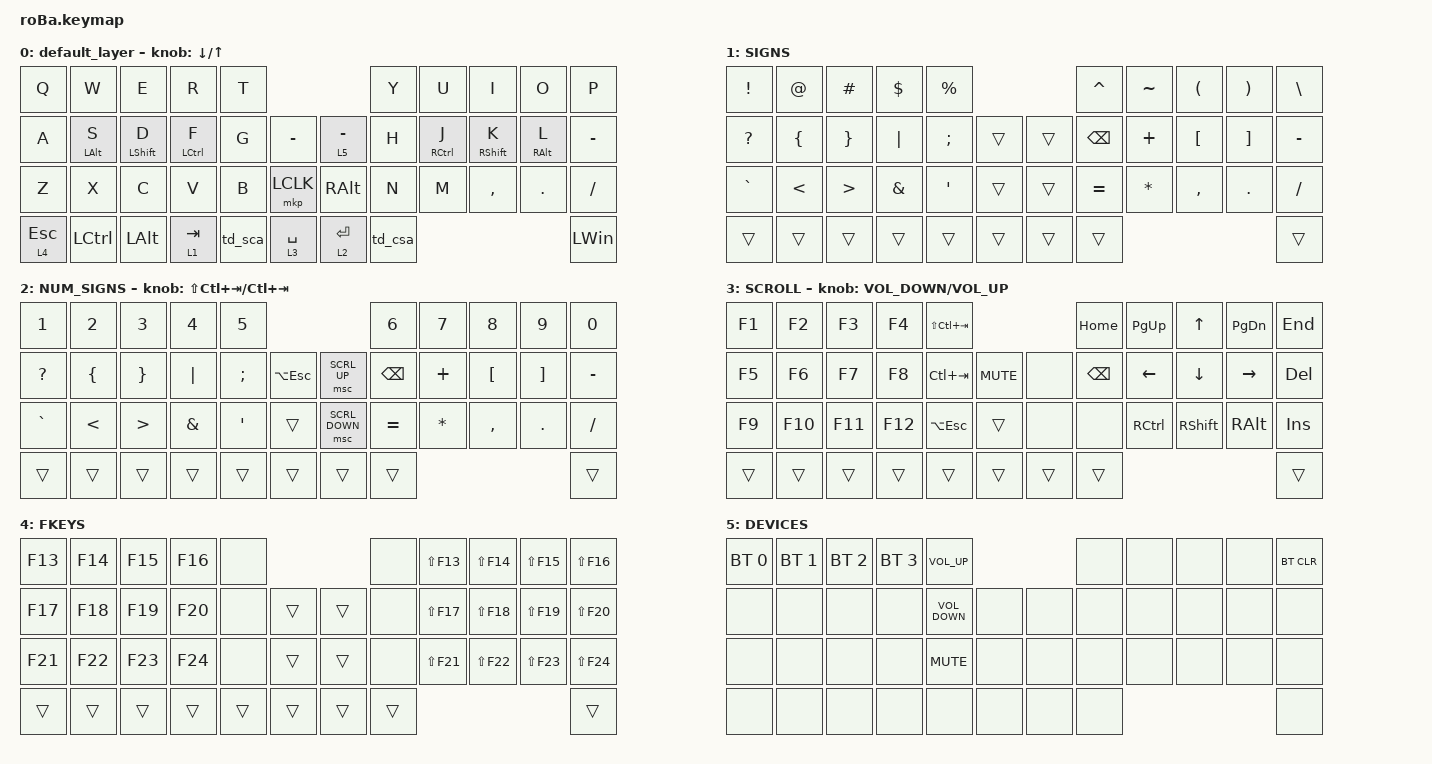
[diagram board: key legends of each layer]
#include <behaviors.dtsi>
#include <dt-bindings/zmk/bt.h>
#include <dt-bindings/zmk/keys.h>
#include <dt-bindings/zmk/pointing.h>

#define MOUSE 4
#define SCROLL 5
#define NUM 6

&mt {
    flavor = "tap-preferred";
    quick-tap-ms = <150>;
    tapping-term-ms = <450>;
    retro-tap;
    require-prior-idle-ms = <150>;
};

/ {
    combos {
        compatible = "zmk,combos";

        colons {
            bindings = <&kp SEMI>;
            key-positions = <20 21>;
            layers = <0>;
            timeout-ms = <150>;
        };

        quotes {
            bindings = <&kp SINGLE_QUOTE>;
            key-positions = <33 32>;
            layers = <0>;
            timeout-ms = <150>;
        };

        lang1 {
            bindings = <&tap_tap LS(LA(LC(INS))) LANG1>;
            key-positions = <38 41>;
        };

        rclk {
            bindings = <&mkp RCLK>;
            key-positions = <19 20>;
            layers = <0>;
        };

        mclk {
            bindings = <&mkp MB3>;
            key-positions = <18 19>;
            layers = <0>;
        };

        colon {
            bindings = <&kp COLON>;
            key-positions = <20 21>;
            layers = <1 2>;
            timeout-ms = <150>;
        };

        doublequote {
            bindings = <&kp DOUBLE_QUOTES>;
            key-positions = <33 32>;
            layers = <1 2>;
            timeout-ms = <150>;
        };

        mb4b {
            bindings = <&mkp MB4>;
            key-positions = <18 19>;
            layers = <3>;
        };

        mb5b {
            bindings = <&mkp MB5>;
            key-positions = <19 20>;
            layers = <3>;
        };

        mo4 {
            bindings = <&mo 4>;
            key-positions = <39 40>;
        };
    };

    macros {
        to_layer_0: to_layer_0 {
            compatible = "zmk,behavior-macro-one-param";
            #binding-cells = <1>;
            bindings = <&to 0 &macro_param_1to1 &kp MACRO_PLACEHOLDER>;
            label = "TO_LAYER_0";
        };

        tap_once: tap_once {
            compatible = "zmk,behavior-macro-one-param";
            #binding-cells = <1>;
            bindings =
                <&macro_press>,
                <&macro_param_1to1 &kp MACRO_PLACEHOLDER>,
                <&macro_release>,
                <&macro_param_1to1 &kp MACRO_PLACEHOLDER>;

            label = "TAP_ONCE";
        };
    };

    behaviors {
        lt_to_layer_0: lt_to_layer_0 {
            compatible = "zmk,behavior-hold-tap";
            label = "LAYER_TAP_TO_0";
            bindings = <&mo>, <&to_layer_0>;

            #binding-cells = <2>;
            tapping-term-ms = <200>;
        };

        td_sca: tap_dance_sca {
            compatible = "zmk,behavior-tap-dance";
            label = "Tap dance behavior (SHIFT, CTRL, ALT)";
            #binding-cells = <0>;
            bindings = <&kp LEFT_SHIFT>, <&kp LCTRL>, <&kp LEFT_ALT>;

            tapping-term-ms = <300>;
        };

        td_csa: tap_dance_csa {
            compatible = "zmk,behavior-tap-dance";
            label = "Tap dance behavior (CTRL, SHIFT, ALT)";
            #binding-cells = <0>;
            bindings = <&kp RCTRL>, <&kp RIGHT_SHIFT>, <&kp RIGHT_ALT>;

            tapping-term-ms = <300>;
        };

        td_ptr: tap_dance_ptr {
            compatible = "zmk,behavior-tap-dance";
            label = "Tap dance behavior (Lang, Ptr)";
            #binding-cells = <0>;
            bindings = <&kp LANGUAGE_1>, <&kp LS(LC(LA(INSERT)))>;

            tapping-term-ms = <300>;
        };

        tap_tap: tap_tap {
            compatible = "zmk,behavior-hold-tap";
            label = "TAP_TAP";
            bindings = <&tap_once>, <&tap_once>;

            #binding-cells = <2>;
            tapping-term-ms = <500>;
        };
    };

    keymap {
        compatible = "zmk,keymap";

        default_layer {
            bindings = <
&kp Q         &kp W           &kp E             &kp R        &kp T                                  &kp Y    &kp U        &kp I              &kp O            &kp P
&kp A         &mt LEFT_ALT S  &mt LEFT_SHIFT D  &mt LCTRL F  &kp G    &kp MINUS      &lt 5 MINUS    &kp H    &mt RCTRL J  &mt RIGHT_SHIFT K  &mt RIGHT_ALT L  &kp MINUS
&kp Z         &kp X           &kp C             &kp V        &kp B    &mkp LCLK      &kp RIGHT_ALT  &kp N    &kp M        &kp COMMA          &kp PERIOD       &kp SLASH
&lt 4 ESCAPE  &kp LCTRL       &kp LEFT_ALT      &lt 1 TAB    &td_sca  &lt 3 SPACE    &lt 2 ENTER    &td_csa                                                   &kp LWIN
            >;

            sensor-bindings = <&inc_dec_kp DOWN_ARROW UP_ARROW>;
        };

        SIGNS {
            bindings = <
&kp EXCL      &kp AT          &kp HASH          &kp DOLLAR  &kp PERCENT                         &kp CARET      &kp TILDE  &kp LEFT_PARENTHESIS  &kp RIGHT_PARENTHESIS  &kp BACKSLASH
&kp QUESTION  &kp LEFT_BRACE  &kp RIGHT_BRACE   &kp PIPE    &kp SEMI          &trans    &trans  &kp BACKSPACE  &kp PLUS   &kp LEFT_BRACKET      &kp RIGHT_BRACKET      &kp MINUS
&kp GRAVE     &kp LESS_THAN   &kp GREATER_THAN  &kp AMPS    &kp SINGLE_QUOTE  &trans    &trans  &kp EQUAL      &kp ASTRK  &kp COMMA             &kp PERIOD             &kp SLASH
&trans        &trans          &trans            &trans      &trans            &trans    &trans  &trans                                                                 &trans
            >;
        };

        NUM_SIGNS {
            bindings = <
&kp NUMBER_1  &kp NUMBER_2    &kp NUMBER_3      &kp NUMBER_4  &kp N5                                              &kp NUMBER_6   &kp N7     &kp N8            &kp N9             &kp N0
&kp QUESTION  &kp LEFT_BRACE  &kp RIGHT_BRACE   &kp PIPE      &kp SEMI          &kp LA(ESCAPE)    &msc SCRL_UP    &kp BACKSPACE  &kp PLUS   &kp LEFT_BRACKET  &kp RIGHT_BRACKET  &kp MINUS
&kp GRAVE     &kp LESS_THAN   &kp GREATER_THAN  &kp AMPS      &kp SINGLE_QUOTE  &trans            &msc SCRL_DOWN  &kp EQUAL      &kp ASTRK  &kp COMMA         &kp PERIOD         &kp SLASH
&trans        &trans          &trans            &trans        &trans            &trans            &trans          &trans                                                         &trans
            >;

            sensor-bindings = <&inc_dec_kp LS(LC(TAB)) LC(TAB)>;
        };

        SCROLL {
            bindings = <
&kp F1  &kp F2   &kp F3   &kp F4   &kp LS(LC(TAB))                        &kp HOME       &kp PAGE_UP     &kp UP_ARROW    &kp PAGE_DOWN    &kp END
&kp F5  &kp F6   &kp F7   &kp F8   &kp LC(TAB)      &kp C_MUTE    &none   &kp BACKSPACE  &kp LEFT_ARROW  &kp DOWN_ARROW  &kp RIGHT_ARROW  &kp DELETE
&kp F9  &kp F10  &kp F11  &kp F12  &kp LA(ESCAPE)   &trans        &none   &none          &kp RCTRL       &kp RSHIFT      &kp RIGHT_ALT    &kp INS
&trans  &trans   &trans   &trans   &trans           &trans        &trans  &trans                                                          &trans
            >;

            sensor-bindings = <&inc_dec_kp C_VOLUME_DOWN C_VOLUME_UP>;
        };

        FKEYS {
            bindings = <
&kp F13  &kp F14  &kp F15  &kp F16  &none                     &none   &kp LS(F13)  &kp LS(F14)  &kp LS(F15)  &kp LS(F16)
&kp F17  &kp F18  &kp F19  &kp F20  &none   &trans    &trans  &none   &kp LS(F17)  &kp LS(F18)  &kp LS(F19)  &kp LS(F20)
&kp F21  &kp F22  &kp F23  &kp F24  &none   &trans    &trans  &none   &kp LS(F21)  &kp LS(F22)  &kp LS(F23)  &kp LS(F24)
&trans   &trans   &trans   &trans   &trans  &trans    &trans  &trans                                         &trans
            >;
        };

        DEVICES {
            bindings = <
&bt BT_SEL 0  &bt BT_SEL 1  &bt BT_SEL 2  &bt BT_SEL 3  &kp C_VOLUME_UP                    &none  &none  &none  &none  &bt BT_CLR
&none         &none         &none         &none         &kp C_VOLUME_DOWN  &none    &none  &none  &none  &none  &none  &none
&none         &none         &none         &none         &kp C_MUTE         &none    &none  &none  &none  &none  &none  &none
&none         &none         &none         &none         &none              &none    &none  &none                       &none
            >;
        };
    };
};
